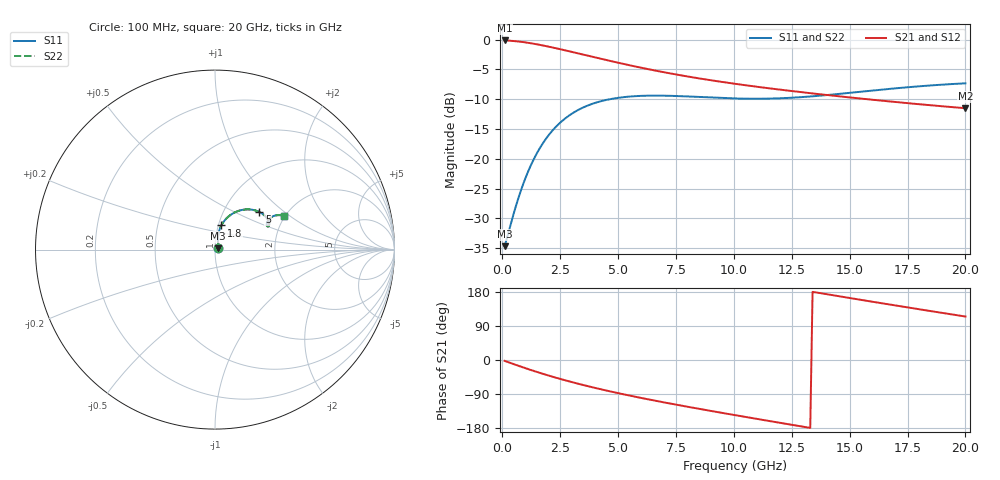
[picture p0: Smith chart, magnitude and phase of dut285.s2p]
! Touchstone file exported from HFSS 2024.1.0
!  File:  C:/UserFiles/LocalFiles/RDL_TSV_Batchsim/temp_RDL_TSV_285_1779465354.aedt
!  Generated:  12:21:37 AM May 23, 2026
!  Design:  RDL_TSV
!  Project:  temp_RDL_TSV_285_1779465354
!  Setup:  Setup1
!  Solution:  Sweep
! Variables:
!  dtsv = 13.44um
!  hbump = 3um
!  htsv = 62.07um
!  ldown = 465.59um
!  lrdl = 580.31um
!  p = 40
!  p1 = 58.31um
!  rhole = 10um
!  subl = 3718.01um
!  t = 450um
!  tdown = 4.25um
!  trdl = 4.87um
!  viad = 10um
!  wdown = 18.69um
!  wrdl = 15.53um
!  xbump = 18um
# GHz S MA R 50.000000
! Terminal data exported
! Port[1] = TM1_1_T1
! Port[2] = TM1_4_T1
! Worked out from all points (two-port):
!   200 points, 100 MHz to 20 GHz, reference 50 ohm
!   highest |S21| = -0.16 dB at 100 MHz (marker M1); lowest = -11.5 dB at 20 GHz (marker M2)
!   |S21| within 3 dB of the highest: start of sweep to 4.18 GHz
!   lowest |S11| = -34.7 dB at 100 MHz (marker M3), VSWR 1.04, Z = 51.8 + j0.67 ohm
!   |S11| at or under -10 dB: start of sweep to 4.658 GHz
!   |S22| runs from -34.7 to -7.4 dB; largest |S21 - S12| = 2.1e-14
!   S11 on the Smith chart (normalised r, x): 100 MHz: 1.04, +0.01; 1.8 GHz: 1.03, +0.28; 5 GHz: 1.47, +0.69; 20 GHz: 1.98, +0.91
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0.1  0.01849 20.5  0.9822 -2.3  0.9822 -2.3  0.01849 20.5
! Gamma 0 0 0 0
! Port Impedance 50 0 50 0
0.6  0.04081 66.0  0.9673 -13.2  0.9673 -13.2  0.04081 65.9
0.9  0.06116 74.7  0.9521 -19.6  0.9521 -19.6  0.06115 74.6
1.3  0.0939 77.8  0.9263 -27.7  0.9263 -27.7  0.09388 77.8
1.8  0.1392 75.4  0.8881 -37.4  0.8881 -37.4  0.1392 75.4
2.2  0.1753 71.2  0.8551 -44.7  0.8551 -44.7  0.1753 71.2
2.6  0.2088 66.4  0.8214 -51.6  0.8214 -51.6  0.2088 66.3
3  0.2386 61.3  0.788 -58.3  0.788 -58.3  0.2385 61.3
3.5  0.2696 55.3  0.7473 -66.1  0.7473 -66.1  0.2695 55.2
4.2  0.3017 47.6  0.6939 -76.5  0.6939 -76.5  0.3016 47.6
5  0.3243 40.2  0.639 -87.4  0.639 -87.4  0.3243 40.2
5.9  0.3363 33.7  0.5854 -98.9  0.5854 -98.9  0.3362 33.7
6.8  0.3385 28.9  0.5399 -109.7  0.5399 -109.7  0.3385 28.9
7.6  0.3355 26.0  0.5053 -118.9  0.5053 -118.9  0.3356 26.0
8.4  0.3304 24.3  0.4754 -127.8  0.4754 -127.8  0.3304 24.2
10.1  0.3202 23.8  0.4239 -146.0  0.4239 -146.0  0.3204 23.7
11.7  0.3201 25.8  0.3861 -162.8  0.3861 -162.8  0.3203 25.7
13.4  0.334 28.4  0.3531 179.8  0.3531 179.8  0.334 28.3
15.1  0.3586 29.8  0.3254 162.6  0.3254 162.6  0.3584 29.7
16.7  0.3852 29.6  0.3028 146.7  0.3028 146.7  0.3848 29.4
18.3  0.4094 28.1  0.2832 131.0  0.2832 131.0  0.4089 27.9
20  0.4292 25.8  0.2655 114.7  0.2655 114.7  0.4284 25.7
